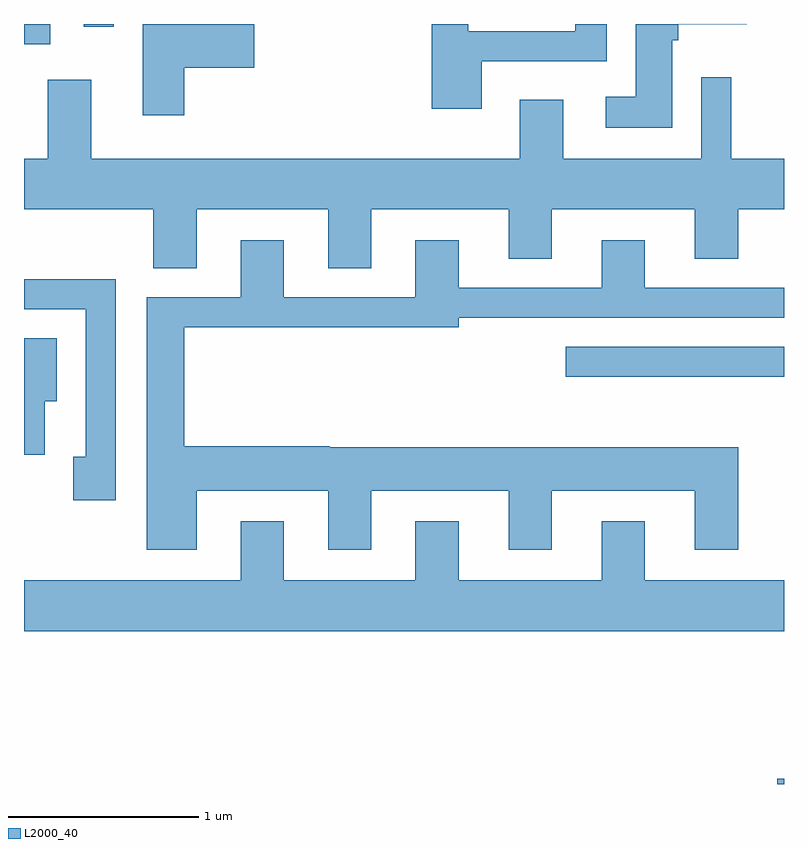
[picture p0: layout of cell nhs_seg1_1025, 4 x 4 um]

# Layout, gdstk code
import gdstk
lib = gdstk.Library(unit=1e-6, precision=1e-09)
def R(c, l, rs):  # rectangles x0, y0, x1, y1
    for r in rs: c.add(gdstk.rectangle(r[:2], r[2:], *l))
def P(c, l, *ps):  # polygons
    for p in ps: c.add(gdstk.Polygon(p, *l))
L2000_40 = (2000, 40)

nhs_seg1_1025 = lib.new_cell('nhs_seg1_1025')
R(nhs_seg1_1025, L2000_40, [(221.576,847.712,221.611,847.739), (220.463,849.856,221.611,850.014), (217.611,851.606,217.749,851.712), (217.926,851.698,218.084,851.712)])
P(nhs_seg1_1025, L2000_40, [(220.019,851.516),(220.679,851.516),(220.679,851.712),(220.511,851.712),(220.511,851.674),(219.949,851.674),(219.949,851.712),(219.756,851.712),(219.756,851.266),(220.019,851.266)],
  [(221.024,851.626),(221.054,851.626),(221.054,851.711),(221.414,851.711),(221.414,851.712),(220.831,851.712),(220.831,851.329),(220.673,851.329),(220.673,851.166),(221.024,851.166)],
  [(218.454,851.481),(218.824,851.481),(218.824,851.712),(218.236,851.712),(218.236,851.231),(218.454,851.231)],
  [(218.519,850.736),(219.211,850.736),(219.211,850.426),(219.439,850.426),(219.439,850.736),(220.161,850.736),(220.161,850.476),(220.389,850.476),(220.389,850.736),(221.141,850.736),(221.141,850.476),(221.369,850.476),(221.369,850.736),(221.611,850.736),(221.611,851.004),(221.334,851.004),(221.334,851.433),(221.176,851.433),(221.176,851.004),(220.449,851.004),(220.449,851.314),(220.221,851.314),(220.221,851.004),(217.964,851.004),(217.964,851.419),(217.736,851.419),(217.736,851.004),(217.611,851.004),(217.611,850.736),(218.291,850.736),(218.291,850.426),(218.519,850.426)],
  [(218.519,849.256),(219.211,849.256),(219.211,848.946),(219.439,848.946),(219.439,849.256),(220.161,849.256),(220.161,848.946),(220.389,848.946),(220.389,849.256),(221.141,849.256),(221.141,848.946),(221.369,848.946),(221.369,849.484),(219.22,849.484),(219.22,849.489),(218.454,849.489),(218.454,850.116),(219.899,850.116),(219.899,850.166),(221.611,850.166),(221.611,850.324),(220.879,850.324),(220.879,850.574),(220.651,850.574),(220.651,850.324),(219.899,850.324),(219.899,850.574),(219.671,850.574),(219.671,850.274),(218.979,850.274),(218.979,850.574),(218.751,850.574),(218.751,850.274),(218.256,850.274),(218.256,848.946),(218.519,848.946)],
  [(218.094,850.369),(217.611,850.369),(217.611,850.211),(217.936,850.211),(217.936,849.434),(217.871,849.434),(217.871,849.206),(218.094,849.206)],
  [(217.719,849.726),(217.784,849.726),(217.784,850.059),(217.611,850.059),(217.611,849.446),(217.719,849.446)],
  [(221.611,848.784),(220.879,848.784),(220.879,849.094),(220.651,849.094),(220.651,848.784),(219.899,848.784),(219.899,849.094),(219.671,849.094),(219.671,848.784),(218.979,848.784),(218.979,849.094),(218.751,849.094),(218.751,848.784),(217.611,848.784),(217.611,848.516),(221.611,848.516)])

lib.write_gds('nhs_seg1_1025.gds')
